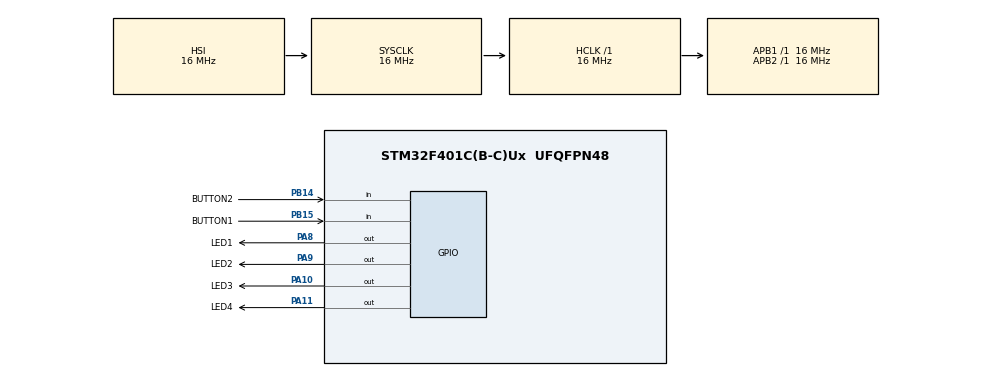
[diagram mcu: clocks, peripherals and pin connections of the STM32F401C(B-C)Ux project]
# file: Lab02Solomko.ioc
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Mcu.Family=STM32F4
Mcu.Name=STM32F401C(B-C)Ux
Mcu.Package=UFQFPN48
NVIC.PriorityGroup=NVIC_PRIORITYGROUP_4
PA10.GPIO_Label=LED3
PA10.Signal=GPIO_Output
PA11.GPIO_Label=LED4
PA11.Signal=GPIO_Output
PA8.GPIO_Label=LED1
PA8.Signal=GPIO_Output
PA9.GPIO_Label=LED2
PA9.Signal=GPIO_Output
PB14.GPIO_Label=BUTTON2
PB14.Signal=GPIO_Input
PB15.GPIO_Label=BUTTON1
PB15.Signal=GPIO_Input
ProjectManager.HeapSize=0x200
ProjectManager.StackSize=0x400
ProjectManager.TargetToolchain=STM32CubeIDE
RCC.AHBFreq_Value=16000000
RCC.APB1Freq_Value=16000000
RCC.APB2Freq_Value=16000000
RCC.CortexFreq_Value=16000000
RCC.HSE_VALUE=25000000
RCC.HSI_VALUE=16000000
RCC.LSE_VALUE=32768
RCC.SYSCLKFreq_VALUE=16000000
RCC.VCOOutputFreq_Value=192000000
board=custom

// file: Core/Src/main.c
/* USER CODE BEGIN Header */
/**
  ******************************************************************************
  * @file           : main.c
  * @brief          : Main program body
  ******************************************************************************
  * @attention
  *
  * Copyright (c) 2023 STMicroelectronics.
  * All rights reserved.
  *
  * This software is licensed under terms that can be found in the LICENSE file
  * in the root directory of this software component.
  * If no LICENSE file comes with this software, it is provided AS-IS.
  *
  ******************************************************************************
  */
/* USER CODE END Header */
#include "main.h"
#include "gpio.h"

void SystemClock_Config(void);

/* USER CODE BEGIN 0 */

void def(){
	HAL_GPIO_WritePin(GPIOA, LED1_Pin, 0);
	HAL_GPIO_WritePin(GPIOA, LED2_Pin, 0);
	HAL_GPIO_WritePin(GPIOA, LED3_Pin, 0);
	HAL_GPIO_WritePin(GPIOA, LED4_Pin, 0);
}
/* USER CODE END 0 */

int main(void)
{

  /* MCU Configuration--------------------------------------------------------*/

  /* Reset of all peripherals, Initializes the Flash interface and the Systick. */
  HAL_Init();

  /* Configure the system clock */
  SystemClock_Config();

  /* Initialize all configured peripherals */
  MX_GPIO_Init();

  /* Infinite loop */
  /* USER CODE BEGIN WHILE */
  int button1_flag=0;
  int button2_flag=0;

  int GPIO_PIN[] = { LED1_Pin, LED2_Pin, LED3_Pin, LED4_Pin };
  while (1)
  {
	  //TASK 2
	  if(HAL_GPIO_ReadPin(GPIOB,BUTTON1_Pin)==1){

	  		  def(); //resets pins level

				  for(int i = 0; i < 4; i ++){
					  if (button1_flag == i){
						  HAL_GPIO_WritePin(GPIOA, GPIO_PIN[i], 1);
					  }
				  }

				  button1_flag++;

					  if(button1_flag==4)
						  button1_flag=0;

				  HAL_Delay(300);
	  		  }

	  //TASK 3
	  	  if(HAL_GPIO_ReadPin(GPIOB,BUTTON2_Pin)==1){

	  		  	  	  	  	  for(int i = 0; i < 4; i ++){
	  							  if (button2_flag == i){
	  								  HAL_GPIO_WritePin(GPIOA, GPIO_PIN[i], 1);
	  							  }
	  						  }

	  	  	  	  if(button2_flag==4){
	  	  	  		  def();
	  	  	  		  button2_flag=-1;
	  	  	  	  }

	  	  	  	  button2_flag++;

	  	  	  	  HAL_Delay(300);
	  	  }

    /* USER CODE END WHILE */

  }
}

void SystemClock_Config(void)
{
  RCC_OscInitTypeDef RCC_OscInitStruct = {0};
  RCC_ClkInitTypeDef RCC_ClkInitStruct = {0};

  /** Configure the main internal regulator output voltage
  */
  __HAL_RCC_PWR_CLK_ENABLE();
  __HAL_PWR_VOLTAGESCALING_CONFIG(PWR_REGULATOR_VOLTAGE_SCALE2);

  /** Initializes the RCC Oscillators according to the specified parameters
  * in the RCC_OscInitTypeDef structure.
  */
  RCC_OscInitStruct.OscillatorType = RCC_OSCILLATORTYPE_HSI;
  RCC_OscInitStruct.HSIState = RCC_HSI_ON;
  RCC_OscInitStruct.HSICalibrationValue = RCC_HSICALIBRATION_DEFAULT;
  RCC_OscInitStruct.PLL.PLLState = RCC_PLL_NONE;
  if (HAL_RCC_OscConfig(&RCC_OscInitStruct) != HAL_OK)
  {
    Error_Handler();
  }

  /** Initializes the CPU, AHB and APB buses clocks
  */
  RCC_ClkInitStruct.ClockType = RCC_CLOCKTYPE_HCLK|RCC_CLOCKTYPE_SYSCLK
                              |RCC_CLOCKTYPE_PCLK1|RCC_CLOCKTYPE_PCLK2;
  RCC_ClkInitStruct.SYSCLKSource = RCC_SYSCLKSOURCE_HSI;
  RCC_ClkInitStruct.AHBCLKDivider = RCC_SYSCLK_DIV1;
  RCC_ClkInitStruct.APB1CLKDivider = RCC_HCLK_DIV1;
  RCC_ClkInitStruct.APB2CLKDivider = RCC_HCLK_DIV1;

  if (HAL_RCC_ClockConfig(&RCC_ClkInitStruct, FLASH_LATENCY_0) != HAL_OK)
  {
    Error_Handler();
  }
}

void Error_Handler(void)
{
  __disable_irq();
  while (1)
  {
  }
}
